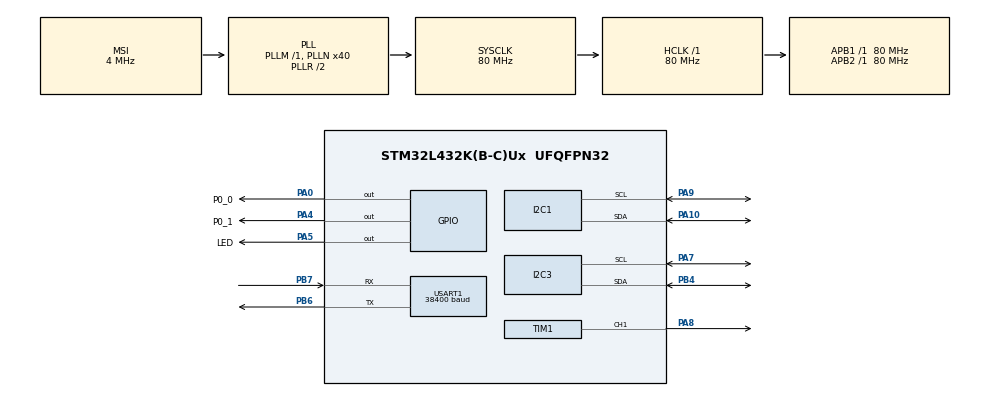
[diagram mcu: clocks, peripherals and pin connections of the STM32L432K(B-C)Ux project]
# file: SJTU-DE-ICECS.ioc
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FREERTOS.Tasks01=defaultTask,0,128,StartDefaultTask,Default,NULL,Dynamic,NULL,NULL;AD5933_Task,0,2048,AppTask_AD5933,Default,NULL,Dynamic,NULL,NULL;ZigBee_Task,2,2048,AppTask_ZigBee,Default,NULL,Dynamic,NULL,NULL
FREERTOS.configTOTAL_HEAP_SIZE=30000
I2C1.DualAddressMode=I2C_DUALADDRESS_DISABLE
I2C1.OwnAddress=0
I2C1.Speed=100
I2C1.Timing=0x10D19CE4
I2C3.Speed=50
I2C3.Timing=0x306188FF
Mcu.Family=STM32L4
Mcu.Name=STM32L432K(B-C)Ux
Mcu.Package=UFQFPN32
NVIC.PriorityGroup=NVIC_PRIORITYGROUP_4
PA0.GPIO_Label=P0_0
PA0.Signal=GPIO_Output
PA10.Mode=I2C
PA10.Signal=I2C1_SDA
PA13\ (JTMS-SWDIO).Mode=Serial_Wire
PA13\ (JTMS-SWDIO).Signal=SYS_JTMS-SWDIO
PA14\ (JTCK-SWCLK).Mode=Serial_Wire
PA14\ (JTCK-SWCLK).Signal=SYS_JTCK-SWCLK
PA4.GPIO_Label=P0_1
PA4.Signal=GPIO_Output
PA5.GPIO_Label=LED
PA5.Signal=GPIO_Output
PA7.Mode=I2C
PA7.Signal=I2C3_SCL
PA8.Signal=S_TIM1_CH1
PA9.GPIO_Mode=GPIO_MODE_AF_OD
PA9.Mode=I2C
PA9.Signal=I2C1_SCL
PB4\ (NJTRST).Mode=I2C
PB4\ (NJTRST).Signal=I2C3_SDA
PB6.Mode=Asynchronous
PB6.Signal=USART1_TX
PB7.Mode=Asynchronous
PB7.Signal=USART1_RX
PC14-OSC32_IN\ (PC14).Mode=LSE-External-Oscillator
PC14-OSC32_IN\ (PC14).Signal=RCC_OSC32_IN
PC15-OSC32_OUT\ (PC15).Mode=LSE-External-Oscillator
PC15-OSC32_OUT\ (PC15).Signal=RCC_OSC32_OUT
ProjectManager.HeapSize=0x200
ProjectManager.StackSize=0x400
ProjectManager.TargetToolchain=CMake
RCC.AHBFreq_Value=80000000
RCC.APB1Freq_Value=80000000
RCC.APB1TimFreq_Value=80000000
RCC.APB2Freq_Value=80000000
RCC.APB2TimFreq_Value=80000000
RCC.CortexFreq_Value=80000000
RCC.HCLKFreq_Value=80000000
RCC.HSE_VALUE=8000000
RCC.HSI48_VALUE=48000000
RCC.HSI_VALUE=16000000
RCC.MSI_VALUE=4000000
RCC.PLLN=40
RCC.SYSCLKFreq_VALUE=80000000
RCC.SYSCLKSource=RCC_SYSCLKSOURCE_PLLCLK
RCC.VCOOutputFreq_Value=160000000
SH.S_TIM1_CH1.0=TIM1_CH1,PWM Generation1 CH1
TIM1.Channel-PWM\ Generation1\ CH1=TIM_CHANNEL_1
TIM1.Period=999
TIM1.Prescaler=79
TIM1.Pulse-PWM\ Generation1\ CH1=500
USART1.BaudRate=38400
USART1.VirtualMode-Asynchronous=VM_ASYNC
VP_FREERTOS_VS_CMSIS_V1.Mode=CMSIS_V1
VP_TIM1_VS_ClockSourceINT.Mode=Internal
board=custom

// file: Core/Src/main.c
/* USER CODE BEGIN Header */
/**
  ******************************************************************************
  * @file           : main.c
  * @brief          : Main program body
  ******************************************************************************
  * @attention
  *
  * Copyright (c) 2025 STMicroelectronics.
  * All rights reserved.
  *
  * This software is licensed under terms that can be found in the LICENSE file
  * in the root directory of this software component.
  * If no LICENSE file comes with this software, it is provided AS-IS.
  *
  ******************************************************************************
  */
/* USER CODE END Header */
#include "main.h"
#include "cmsis_os.h"
#include "i2c.h"
#include "tim.h"
#include "usart.h"
#include "gpio.h"

void SystemClock_Config(void);
void MX_FREERTOS_Init(void);

int main(void)
{

  /* MCU Configuration--------------------------------------------------------*/

  /* Reset of all peripherals, Initializes the Flash interface and the Systick. */
  HAL_Init();

  /* Configure the system clock */
  SystemClock_Config();

  /* Initialize all configured peripherals */
  MX_GPIO_Init();
  MX_I2C1_Init();
  MX_USART1_UART_Init();
  MX_I2C3_Init();
  MX_TIM1_Init();
  /* USER CODE BEGIN 2 */
  __HAL_TIM_SET_COMPARE(&htim1, TIM_CHANNEL_1, ((htim1.Init.Period + 1U) * 30U) / 100U);
  if (HAL_TIM_PWM_Start(&htim1, TIM_CHANNEL_1) != HAL_OK)
  {
    Error_Handler();
  }

  /* USER CODE END 2 */

  /* Call init function for freertos objects (in cmsis_os2.c) */
  MX_FREERTOS_Init();

  /* Start scheduler */
  osKernelStart();

  /* We should never get here as control is now taken by the scheduler */

  /* Infinite loop */
  while (1)
  {

  }
}

void SystemClock_Config(void)
{
  RCC_OscInitTypeDef RCC_OscInitStruct = {0};
  RCC_ClkInitTypeDef RCC_ClkInitStruct = {0};

  /** Configure the main internal regulator output voltage
  */
  if (HAL_PWREx_ControlVoltageScaling(PWR_REGULATOR_VOLTAGE_SCALE1) != HAL_OK)
  {
    Error_Handler();
  }

  /** Configure LSE Drive Capability
  */
  HAL_PWR_EnableBkUpAccess();
  __HAL_RCC_LSEDRIVE_CONFIG(RCC_LSEDRIVE_LOW);

  /** Initializes the RCC Oscillators according to the specified parameters
  * in the RCC_OscInitTypeDef structure.
  */
  RCC_OscInitStruct.OscillatorType = RCC_OSCILLATORTYPE_LSE|RCC_OSCILLATORTYPE_MSI;
  RCC_OscInitStruct.LSEState = RCC_LSE_ON;
  RCC_OscInitStruct.MSIState = RCC_MSI_ON;
  RCC_OscInitStruct.MSICalibrationValue = 0;
  RCC_OscInitStruct.MSIClockRange = RCC_MSIRANGE_6;
  RCC_OscInitStruct.PLL.PLLState = RCC_PLL_ON;
  RCC_OscInitStruct.PLL.PLLSource = RCC_PLLSOURCE_MSI;
  RCC_OscInitStruct.PLL.PLLM = 1;
  RCC_OscInitStruct.PLL.PLLN = 40;
  RCC_OscInitStruct.PLL.PLLP = RCC_PLLP_DIV7;
  RCC_OscInitStruct.PLL.PLLQ = RCC_PLLQ_DIV2;
  RCC_OscInitStruct.PLL.PLLR = RCC_PLLR_DIV2;
  if (HAL_RCC_OscConfig(&RCC_OscInitStruct) != HAL_OK)
  {
    Error_Handler();
  }

  /** Initializes the CPU, AHB and APB buses clocks
  */
  RCC_ClkInitStruct.ClockType = RCC_CLOCKTYPE_HCLK|RCC_CLOCKTYPE_SYSCLK
                              |RCC_CLOCKTYPE_PCLK1|RCC_CLOCKTYPE_PCLK2;
  RCC_ClkInitStruct.SYSCLKSource = RCC_SYSCLKSOURCE_PLLCLK;
  RCC_ClkInitStruct.AHBCLKDivider = RCC_SYSCLK_DIV1;
  RCC_ClkInitStruct.APB1CLKDivider = RCC_HCLK_DIV1;
  RCC_ClkInitStruct.APB2CLKDivider = RCC_HCLK_DIV1;

  if (HAL_RCC_ClockConfig(&RCC_ClkInitStruct, FLASH_LATENCY_4) != HAL_OK)
  {
    Error_Handler();
  }

  /** Enable MSI Auto calibration
  */
  HAL_RCCEx_EnableMSIPLLMode();
}

void Error_Handler(void)
{
  __disable_irq();
  while (1)
  {
  }
}

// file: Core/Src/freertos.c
/* USER CODE BEGIN Header */
/**
  ******************************************************************************
  * File Name          : freertos.c
  * Description        : Code for freertos applications
  ******************************************************************************
  * @attention
  *
  * Copyright (c) 2025 STMicroelectronics.
  * All rights reserved.
  *
  * This software is licensed under terms that can be found in the LICENSE file
  * in the root directory of this software component.
  * If no LICENSE file comes with this software, it is provided AS-IS.
  *
  ******************************************************************************
  */
/* USER CODE END Header */

#include "FreeRTOS.h"
#include "task.h"
#include "main.h"
#include "cmsis_os.h"

/* USER CODE BEGIN Includes */
#include "AD5933.h"
#include "Communication.h"
#include "stdio.h"
#include "usart.h"
#include "tim.h"
#include <stdio.h>
#include <math.h>
#include "i2c.h"
#include "cJSON.h"
#include "semphr.h"
#include <string.h>
#include <stdlib.h>
#include <getopt.h>
#include "message_buffer.h"
#include "sht2x_for_stm32_hal.h"
/* USER CODE END Includes */

/* USER CODE BEGIN PTD */
typedef struct {
    char   *buf;
    size_t  len;
} JsonMsg_t;

typedef enum {
    APP_FREQ_MODE_SWEEP = 0,
    APP_FREQ_MODE_FIXED = 1
} AppFreqMode_t;

typedef struct {
    AppFreqMode_t  mode;
    unsigned long  startFreqHz;
    unsigned long  endFreqHz;
    unsigned long  incFreqHz;
    unsigned long  fixedFreqHz;
    unsigned short incNum;
    uint32_t       version;
} AppAD5933Config_t;

QueueHandle_t xJsonQueue;   // 创建时给尺寸, 例如 16
SemaphoreHandle_t xAD5933ConfigMutex;

double          Zr_raw, Zi_raw, phase, phase_comp, phase_real;
double          magnitude, impedance;
/* USER CODE END PTD */

/* USER CODE BEGIN PD */
#define ZIGBEE_RECV_READY_Pin GPIO_PIN_0
#define ZIGBEE_RECV_READY_GPIO_Port GPIOA
#define ZIGBEE_WAKEUP_Pin GPIO_PIN_4
#define ZIGBEE_WAKEUP_GPIO_Port GPIOA
#define SYS_LED_Pin GPIO_PIN_5
#define SYS_LED_GPIO_Port GPIOA

#define	ZIGBEE_TRANS(n)			(n?HAL_GPIO_WritePin(ZIGBEE_WAKEUP_GPIO_Port,ZIGBEE_WAKEUP_Pin,GPIO_PIN_RESET):HAL_GPIO_WritePin(ZIGBEE_WAKEUP_GPIO_Port,ZIGBEE_WAKEUP_Pin,GPIO_PIN_SET))
#define SYS_LED_BLINK()			HAL_GPIO_TogglePin(SYS_LED_GPIO_Port, SYS_LED_Pin)
#define SYS_LED_ON()			HAL_GPIO_WritePin(SYS_LED_GPIO_Port, SYS_LED_Pin, GPIO_PIN_RESET)
#define SYS_LED_OFF()			HAL_GPIO_WritePin(SYS_LED_GPIO_Port, SYS_LED_Pin, GPIO_PIN_SET)

#ifndef APP_NODE_ID
#define APP_NODE_ID             "0014"
#endif
#define CMD_LINE_MAX_LEN        96U
#define CMD_ARGV_MAX            12
#define CMD_FREQ_SCALE_HZ       1000UL

// Get the PANID of the ZigBee module.
uint8_t ZigBee_Get_PANID_Cmd[7] =
	{0xFC, 0x03, 0x02, 0x00, 0x00, 0x00, 0xFD};
// Get the network ID of the ZigBee module.
uint8_t ZigBee_Get_NETID_Cmd[7] =
	{0xFC, 0x03, 0x04, 0x00, 0x00, 0x00, 0xFB};
// Get the MAC address of the ZigBee module.
uint8_t ZigBee_Get_MACID_Cmd[7] =
	{0xFC, 0x03, 0x05, 0x00, 0x00, 0x00, 0xFA};
// Get the signal channel of the ZigBee module.
uint8_t ZigBee_Get_SIGCHAN_Cmd[7] =
	{0xFC, 0x03, 0x09, 0x00, 0x00, 0x00, 0xF6};
// Get the node type of the ZigBee module.
uint8_t ZigBee_Get_NODETYPE_Cmd[7] =
	{0xFC, 0x03, 0x11, 0x00, 0x00, 0x00, 0xEE};

// Set the PANID of the ZigBee module to 0x0397 (919).
uint8_t ZigBee_Set_PANID_Cmd[7] =
	{0xFC, 0x06, 0x02, 0x00, 0x97, 0x03, 0x6C};
// Set the node type of the ZigBee module to 0x02 (end device with low power).
uint8_t ZigBee_Set_NODETYPE_Cmd[7] =
	{0xFC, 0x06, 0x11, 0x00, 0x02, 0x00, 0xE9};

uint8_t ZigBee_NETID[4] =
	{0}; // High byte is in the front, low byte is in the back.
uint8_t ZigBee_MACID[8] =
	{0}; // High byte is in the front, low byte is in the back.
uint16_t ADCBuff[2] =
	{0};
/* USER CODE END PD */

/* USER CODE BEGIN PM */
float SHT2x_GetRelativeHumidity(uint8_t hold_master);
static double computePhaseComp(unsigned long freq);
static void QueueUartText(const char *text);
static void PublishMeasurementJson(const char *id, unsigned long currentFreqHz,
                                   double impedanceValue,
                                   double phaseDeg);
static void GetAD5933Config(AppAD5933Config_t *config);
static uint8_t IsAD5933ConfigChanged(uint32_t version);
static void HandleCommandLine(const char *line);
static int ExtractAndMatchTargetId(int *argc, char *argv[]);
static uint8_t ParsePwmDutyPermille(const char *text, uint32_t *dutyPermille);
static uint8_t HandlePwmCommand(const char *text);
static void StartCommandRx(void);
/* USER CODE END PM */

/* USER CODE BEGIN Variables */
static AppAD5933Config_t gAD5933Config = {
    .mode = APP_FREQ_MODE_SWEEP,
    .startFreqHz = 5000UL,
    .endFreqHz = 100000UL,
    .incFreqHz = 1000UL,
    .fixedFreqHz = 10000UL,
    .incNum = 95U,
    .version = 0U
};

static uint8_t cmdRxByte;
static char cmdRxLine[CMD_LINE_MAX_LEN];
static char cmdPendingLine[CMD_LINE_MAX_LEN];
static volatile uint16_t cmdRxIndex;
static volatile uint8_t cmdPendingReady;
static volatile uint8_t cmdLineOverflow;
static volatile uint8_t cmdLineDropped;
osThreadId Command_TaskHandle;
/* USER CODE END Variables */
osThreadId defaultTaskHandle;
osThreadId AD5933_TaskHandle;
osThreadId ZigBee_TaskHandle;

/* USER CODE BEGIN FunctionPrototypes */
void AppTask_Command(void const * argument);
/* USER CODE END FunctionPrototypes */

void StartDefaultTask(void const * argument);
void AppTask_AD5933(void const * argument);
void AppTask_ZigBee(void const * argument);

void MX_FREERTOS_Init(void); /* (MISRA C 2004 rule 8.1) */

/* GetIdleTaskMemory prototype (linked to static allocation support) */
void vApplicationGetIdleTaskMemory( StaticTask_t **ppxIdleTaskTCBBuffer, StackType_t **ppxIdleTaskStackBuffer, uint32_t *pulIdleTaskStackSize );

/* USER CODE BEGIN GET_IDLE_TASK_MEMORY */
static StaticTask_t xIdleTaskTCBBuffer;
static StackType_t xIdleStack[configMINIMAL_STACK_SIZE];

void vApplicationGetIdleTaskMemory( StaticTask_t **ppxIdleTaskTCBBuffer, StackType_t **ppxIdleTaskStackBuffer, uint32_t *pulIdleTaskStackSize )
{
  *ppxIdleTaskTCBBuffer = &xIdleTaskTCBBuffer;
  *ppxIdleTaskStackBuffer = &xIdleStack[0];
  *pulIdleTaskStackSize = configMINIMAL_STACK_SIZE;
  /* place for user code */
}
/* USER CODE END GET_IDLE_TASK_MEMORY */

void MX_FREERTOS_Init(void) {

  /* USER CODE BEGIN RTOS_MUTEX */
  xAD5933ConfigMutex = xSemaphoreCreateMutex();
  configASSERT(xAD5933ConfigMutex);

  /* USER CODE END RTOS_MUTEX */

  /* USER CODE BEGIN RTOS_QUEUES */
  xJsonQueue = xQueueCreate(16, sizeof(JsonMsg_t));
  configASSERT(xJsonQueue);
  StartCommandRx();
  /* USER CODE END RTOS_QUEUES */

  /* Create the thread(s) */
  /* definition and creation of defaultTask */
  osThreadDef(defaultTask, StartDefaultTask, osPriorityNormal, 0, 128);
  defaultTaskHandle = osThreadCreate(osThread(defaultTask), NULL);

  /* definition and creation of AD5933_Task */
  osThreadDef(AD5933_Task, AppTask_AD5933, osPriorityNormal, 0, 2048);
  AD5933_TaskHandle = osThreadCreate(osThread(AD5933_Task), NULL);

  /* definition and creation of ZigBee_Task */
  osThreadDef(ZigBee_Task, AppTask_ZigBee, osPriorityHigh, 0, 2048);
  ZigBee_TaskHandle = osThreadCreate(osThread(ZigBee_Task), NULL);

  /* USER CODE BEGIN RTOS_THREADS */
  osThreadDef(Command_Task, AppTask_Command, osPriorityAboveNormal, 0, 1024);
  Command_TaskHandle = osThreadCreate(osThread(Command_Task), NULL);
  /* USER CODE END RTOS_THREADS */

}

void StartDefaultTask(void const * argument)
{
  /* USER CODE BEGIN StartDefaultTask */
  (void)argument;
  /* Infinite loop */
	  for(;;)
	  {
		  HAL_GPIO_TogglePin(GPIOA, GPIO_PIN_5);
		  vTaskDelay(250);
	  }
  /* USER CODE END StartDefaultTask */
}

void AppTask_AD5933(void const * argument)
{
  /* USER CODE BEGIN AppTask_AD5933 */
	  (void)argument;
	  // AD5933 初始化
	  AD5933_Init();
	  AD5933_Init();
	  AD5933_Reset();
	  AD5933_SetSystemClk(AD5933_CONTROL_INT_SYSCLK, 0);
	  AD5933_SetRangeAndGain(AD5933_RANGE_1000mVpp, AD5933_GAIN_X1);

	  // SHT20初始化
      SHT2x_Init(&hi2c3);
      SHT2x_Init(&hi2c3);
	  SHT2x_SetResolution(RES_12_8);

	  // ID 与 NT
	  const char *id = APP_NODE_ID;

	  while (1) {
	    AppAD5933Config_t config;
	    const double gainFactor = 4.3675e-9;

	    GetAD5933Config(&config);

	    // 配置扫频
	    if (config.mode == APP_FREQ_MODE_FIXED) {
	        AD5933_ConfigSweep(config.fixedFreqHz, 0UL, 0U);
	    } else {
	        AD5933_ConfigSweep(config.startFreqHz, config.incFreqHz, config.incNum);
	    }
	    AD5933_StartSweep();

	    if (config.mode == APP_FREQ_MODE_FIXED) {
	        while (IsAD5933ConfigChanged(config.version) == 0U)
	        {
	            double Z, Zr, Zi, phase;

	            AD5933_GetComplexImpedance(gainFactor, AD5933_FUNCTION_REPEAT_FREQ, &Z, &Zr, &Zi, &phase);
	            PublishMeasurementJson(id, config.fixedFreqHz, Z, phase);
	            vTaskDelay(250);
	        }
	        continue;
	    }

	    for (unsigned short step = 0; step <= config.incNum; step++)
	    {
	        unsigned long current_freq = config.startFreqHz  + (unsigned long)step * config.incFreqHz;
	        double Z, Zr, Zi, phase, Z_real, Z_imag;
	        double phase_comp = computePhaseComp(current_freq);

	        if (IsAD5933ConfigChanged(config.version)) {
	            break;
	        }

	        // 串行读取 AD5933
	        if (step == 0) {
	            AD5933_GetComplexImpedance(gainFactor, AD5933_FUNCTION_INIT_START_FREQ, &Z, &Zr, &Zi, &phase);
	        } else {
	            AD5933_GetComplexImpedance(gainFactor, AD5933_FUNCTION_INC_FREQ, &Z, &Zr, &Zi, &phase);
	        }

	        double phase_real = phase - phase_comp;
	        double theta_rad  = phase_real * M_PI / 180.0;
	        Z_real = Z * cos(theta_rad);
	        Z_imag = Z * sin(theta_rad);

		    float temp = SHT2x_GetTemperature(1);
		    float hum  = SHT2x_GetRelativeHumidity(1);
		    vTaskDelay(10);

	        // 组 JSON
	        cJSON *root = cJSON_CreateObject();
	        cJSON_AddStringToObject(root, "ID",  id);
	        cJSON_AddNumberToObject(root, "Freq", current_freq / CMD_FREQ_SCALE_HZ);
	        cJSON_AddNumberToObject(root, "Zr", Z_real);
	        cJSON_AddNumberToObject(root, "Zi", Z_imag);
	        cJSON_AddNumberToObject(root, "T", temp);
	        cJSON_AddNumberToObject(root, "H", hum);

	        char *json = cJSON_PrintUnformatted(root);
	        cJSON_Delete(root);

	        if (json) {
	            size_t len = strlen(json);
	            char *send_buf = pvPortMalloc(len + 2);
	            configASSERT(send_buf);
	            memcpy(send_buf, json, len);
	            send_buf[len++] = '\r';
	            send_buf[len++] = '\n';

	            JsonMsg_t msg = { .buf = send_buf, .len = len };
	            xQueueSend(xJsonQueue, &msg, portMAX_DELAY);

	            cJSON_free(json);
	        }

	        vTaskDelay(250);
	    }
	  }
  /* USER CODE END AppTask_AD5933 */
}

void AppTask_ZigBee(void const * argument)
{
  /* USER CODE BEGIN AppTask_ZigBee */
    (void)argument;
    // 一次性唤醒并等待稳定
    ZIGBEE_TRANS(1);
    vTaskDelay(pdMS_TO_TICKS(50));

    // 进入配置
    HAL_UART_Transmit(&huart1, ZigBee_Set_PANID_Cmd, 7, 100);
    vTaskDelay(pdMS_TO_TICKS(50));
    HAL_UART_Transmit(&huart1, ZigBee_Set_NODETYPE_Cmd, 7, 100);
    vTaskDelay(pdMS_TO_TICKS(50));

    // 后面不再切 ZIGBEE_TRANS
    for (;;) {
        JsonMsg_t msg;
        if (xQueueReceive(xJsonQueue, &msg, portMAX_DELAY) == pdTRUE) {
            HAL_UART_Transmit(&huart1, (uint8_t *)msg.buf, msg.len, HAL_MAX_DELAY);
            vPortFree(msg.buf);
        }
    }
  /* USER CODE END AppTask_ZigBee */
}

/* USER CODE BEGIN Application */
void AppTask_Command(void const * argument)
{
    (void)argument;
    QueueUartText("\r\nCMD READY: append '-id <sensor_id>' to every set command\r\n");
    QueueUartText("Examples: set -pwm 0.3 -id 0011; set -o 0 -s 5 -e 100 -i 1 -id 0011; set -o 1 -q 10 -id 0011\r\n");

    for (;;) {
        char line[CMD_LINE_MAX_LEN];
        uint8_t hasLine = 0U;
        uint8_t overflow = 0U;
        uint8_t dropped = 0U;

        taskENTER_CRITICAL();
        if (cmdPendingReady != 0U) {
            memcpy(line, cmdPendingLine, sizeof(line));
            cmdPendingReady = 0U;
            hasLine = 1U;
        }
        if (cmdLineOverflow != 0U) {
            cmdLineOverflow = 0U;
            overflow = 1U;
        }
        if (cmdLineDropped != 0U) {
            cmdLineDropped = 0U;
            dropped = 1U;
        }
        taskEXIT_CRITICAL();

        if (overflow != 0U) {
            QueueUartText("CMD ERR: line too long\r\n");
        }
        if (dropped != 0U) {
            QueueUartText("CMD ERR: previous command not processed, line dropped\r\n");
        }
        if (hasLine != 0U) {
            HandleCommandLine(line);
        }

        vTaskDelay(pdMS_TO_TICKS(20));
    }
}

static double computePhaseComp(unsigned long freq) {
        return 7.53601e-4 * (double)freq - 90.46298;
}

static void QueueUartText(const char *text)
{
    size_t len;
    char *send_buf;
    JsonMsg_t msg;

    if ((text == NULL) || (xJsonQueue == NULL)) {
        return;
    }

    len = strlen(text);
    send_buf = pvPortMalloc(len);
    if (send_buf == NULL) {
        return;
    }

    memcpy(send_buf, text, len);
    msg.buf = send_buf;
    msg.len = len;

    if (xQueueSend(xJsonQueue, &msg, pdMS_TO_TICKS(100U)) != pdPASS) {
        vPortFree(send_buf);
    }
}

static void PublishMeasurementJson(const char *id, unsigned long currentFreqHz,
                                   double impedanceValue,
                                   double phaseDeg)
{
    double phase_comp = computePhaseComp(currentFreqHz);
    double phase_real = phaseDeg - phase_comp;
    double theta_rad  = phase_real * M_PI / 180.0;
    double Z_real = impedanceValue * cos(theta_rad);
    double Z_imag = impedanceValue * sin(theta_rad);
    float temp = SHT2x_GetTemperature(1);
    float hum  = SHT2x_GetRelativeHumidity(1);
    cJSON *root;
    char *json;

    vTaskDelay(10);

    root = cJSON_CreateObject();
    if (root == NULL) {
        return;
    }

    cJSON_AddStringToObject(root, "ID", id);
    cJSON_AddNumberToObject(root, "Freq", currentFreqHz / CMD_FREQ_SCALE_HZ);
    cJSON_AddNumberToObject(root, "Zr", Z_real);
    cJSON_AddNumberToObject(root, "Zi", Z_imag);
    cJSON_AddNumberToObject(root, "T", temp);
    cJSON_AddNumberToObject(root, "H", hum);

    json = cJSON_PrintUnformatted(root);
    cJSON_Delete(root);

    if (json != NULL) {
        size_t len = strlen(json);
        char *send_buf = pvPortMalloc(len + 2U);

        if (send_buf != NULL) {
            JsonMsg_t msg;

            memcpy(send_buf, json, len);
            send_buf[len++] = '\r';
            send_buf[len++] = '\n';
            msg.buf = send_buf;
            msg.len = len;
            xQueueSend(xJsonQueue, &msg, portMAX_DELAY);
        }

        cJSON_free(json);
    }
}

static void GetAD5933Config(AppAD5933Config_t *config)
{
    if (config == NULL) {
        return;
    }

    if (xAD5933ConfigMutex != NULL) {
        xSemaphoreTake(xAD5933ConfigMutex, portMAX_DELAY);
        *config = gAD5933Config;
        xSemaphoreGive(xAD5933ConfigMutex);
    } else {
        *config = gAD5933Config;
    }
}

static uint8_t IsAD5933ConfigChanged(uint32_t version)
{
    AppAD5933Config_t config;

    GetAD5933Config(&config);
    return (config.version != version) ? 1U : 0U;
}

static void PrintCommandHelp(void)
{
    QueueUartText("CMD HELP: set -pwm <0.0-1.0> -id <sensor_id>; set -o <0|1> [-q fixed_kHz] [-s start_kHz -e end_kHz -i step_kHz] -id <sensor_id>\r\n");
    QueueUartText("  -id X: target sensor ID (this node is " APP_NODE_ID ")\r\n");
    QueueUartText("  -pwm X: PWM duty ratio, 0.3 means 30%, 0.5 means 50%\r\n");
    QueueUartText("  -o 0: sweep mode, -o 1: fixed-frequency mode\r\n");
    QueueUartText("  -q X: fixed frequency in kHz\r\n");
    QueueUartText("  -s X -e Y -i Z: sweep start/end/step in kHz\r\n");
    QueueUartText("Examples: set -pwm 0.3 -id 0011; set -o 0 -s 5 -e 100 -i 1 -id 0011; set -o 1 -q 10 -id 0011\r\n");
}

static uint8_t ParsePwmDutyPermille(const char *text, uint32_t *dutyPermille)
{
    const char *p = text;
    uint32_t whole = 0U;
    uint32_t frac = 0U;
    uint32_t fracDigits = 0U;
    uint8_t hasWholeDigit = 0U;
    uint8_t hasFracDigit = 0U;
    uint8_t fracNonZero = 0U;
    uint8_t roundUp = 0U;

    if ((text == NULL) || (dutyPermille == NULL) || (*text == '\0')) {
        return 0U;
    }

    while ((*p >= '0') && (*p <= '9')) {
        hasWholeDigit = 1U;
        whole = (whole * 10U) + (uint32_t)(*p - '0');
        if (whole > 1U) {
            return 0U;
        }
        p++;
    }

    if (*p == '.') {
        p++;
        while ((*p >= '0') && (*p <= '9')) {
            uint32_t digit = (uint32_t)(*p - '0');

            hasFracDigit = 1U;
            if (digit != 0U) {
                fracNonZero = 1U;
            }

            if (fracDigits < 3U) {
                frac = (frac * 10U) + digit;
            } else if ((fracDigits == 3U) && (digit >= 5U)) {
                roundUp = 1U;
            }

            fracDigits++;
            p++;
        }
    }

    if ((hasWholeDigit == 0U) && (hasFracDigit == 0U)) {
        return 0U;
    }
    if ((*p != '\0') || ((whole == 1U) && (fracNonZero != 0U))) {
        return 0U;
    }

    while (fracDigits < 3U) {
        frac *= 10U;
        fracDigits++;
    }

    if (whole == 1U) {
        *dutyPermille = 1000U;
    } else {
        if ((roundUp != 0U) && (frac < 1000U)) {
            frac++;
        }
        if (frac > 1000U) {
            frac = 1000U;
        }
        *dutyPermille = frac;
    }

    return 1U;
}

static uint8_t HandlePwmCommand(const char *text)
{
    uint32_t dutyPermille;
    uint32_t periodCounts;
    uint32_t pulse;
    char reply[80];

    if (ParsePwmDutyPermille(text, &dutyPermille) == 0U) {
        QueueUartText("CMD ERR: PWM duty must be 0.0 to 1.0\r\n");
        return 0U;
    }

    periodCounts = htim1.Init.Period + 1U;
    pulse = ((periodCounts * dutyPermille) + 500U) / 1000U;
    if (pulse > periodCounts) {
        pulse = periodCounts;
    }

    __HAL_TIM_SET_COMPARE(&htim1, TIM_CHANNEL_1, pulse);

    snprintf(reply, sizeof(reply), "CMD OK: pwm duty=%lu.%lu%% pulse=%lu\r\n",
             (unsigned long)(dutyPermille / 10U),
             (unsigned long)(dutyPermille % 10U),
             (unsigned long)pulse);
    QueueUartText(reply);
    return 1U;
}

static uint8_t ParsePositiveKHz(const char *text, unsigned long *freqHz)
{
    char *end = NULL;
    long value;

    if ((text == NULL) || (freqHz == NULL)) {
        return 0U;
    }

    value = strtol(text, &end, 10);
    if ((end == text) || (value <= 0)) {
        return 0U;
    }

    while ((*end == ' ') || (*end == '\t')) {
        end++;
    }

    if (*end != '\0') {
        return 0U;
    }

    *freqHz = (unsigned long)value * CMD_FREQ_SCALE_HZ;
    return 1U;
}

static int SplitCommandLine(char *line, char *argv[], int maxArgc)
{
    int argc = 0;
    char *p = line;

    while (*p != '\0') {
        while ((*p == ' ') || (*p == '\t')) {
            p++;
        }

        if (*p == '\0') {
            break;
        }

        if (argc >= maxArgc) {
            return -1;
        }

        argv[argc++] = p;

        while ((*p != '\0') && (*p != ' ') && (*p != '\t')) {
            p++;
        }

        if (*p != '\0') {
            *p = '\0';
            p++;
        }
    }

    return argc;
}

/*
 * Remove the two-token "-id <sensor_id>" option before getopt processes the
 * remaining single-character options.  Commands for other nodes are silently
 * ignored because they share the same ZigBee/UART receive path.
 *
 * Return 1 for this node, 0 for another node, and -1 for malformed input.
 */
static int ExtractAndMatchTargetId(int *argc, char *argv[])
{
    const char *targetId = NULL;
    int readIndex;
    int writeIndex = 0;

    if ((argc == NULL) || (argv == NULL)) {
        return -1;
    }

    for (readIndex = 0; readIndex < *argc; readIndex++) {
        if (strcmp(argv[readIndex], "-id") == 0) {
            if ((targetId != NULL) || ((readIndex + 1) >= *argc) ||
                (argv[readIndex + 1][0] == '\0')) {
                return -1;
            }

            targetId = argv[readIndex + 1];
            readIndex++;
        } else {
            argv[writeIndex++] = argv[readIndex];
        }
    }

    *argc = writeIndex;
    if (targetId == NULL) {
        return -1;
    }

    return (strcmp(targetId, APP_NODE_ID) == 0) ? 1 : 0;
}

static void HandleCommandLine(const char *line)
{
    char lineCopy[CMD_LINE_MAX_LEN];
    char *argv[CMD_ARGV_MAX];
    AppAD5933Config_t nextConfig;
    unsigned long incNum;
    int argc;
    int opt;
    int targetMatch;
    int selectedMode = -1;
    uint8_t hasMode = 0U;
    uint8_t hasFixedFreq = 0U;
    uint8_t hasSweepParam = 0U;
    char reply[160];

    if (line == NULL) {
        return;
    }

    strncpy(lineCopy, line, sizeof(lineCopy) - 1U);
    lineCopy[sizeof(lineCopy) - 1U] = '\0';

    argc = SplitCommandLine(lineCopy, argv, CMD_ARGV_MAX);
    if (argc == 0) {
        return;
    }
    if (argc < 0) {
        QueueUartText("CMD ERR: too many arguments\r\n");
        return;
    }

    if ((strcmp(argv[0], "help") == 0) || (strcmp(argv[0], "?") == 0)) {
        PrintCommandHelp();
        return;
    }

    if (strcmp(argv[0], "set") != 0) {
        QueueUartText("CMD ERR: command must start with 'set'\r\n");
        PrintCommandHelp();
        return;
    }

    targetMatch = ExtractAndMatchTargetId(&argc, argv);
    if (targetMatch < 0) {
        QueueUartText("CMD ERR: every set command requires exactly one '-id <sensor_id>'\r\n");
        return;
    }
    if (targetMatch == 0) {
        return;
    }

    if ((argc >= 2) && (strcmp(argv[1], "-pwm") == 0)) {
        if (argc != 3) {
            QueueUartText("CMD ERR: use 'set -pwm <0.0-1.0> -id <sensor_id>'\r\n");
            return;
        }
        (void)HandlePwmCommand(argv[2]);
        return;
    }

    GetAD5933Config(&nextConfig);
    selectedMode = (int)nextConfig.mode;

    optind = 1;
    opterr = 0;

    while ((opt = getopt(argc, argv, "ho:q:s:e:i:")) != -1) {
        switch (opt) {
        case 'h':
            PrintCommandHelp();
            return;

        case 'o':
            if ((strcmp(optarg, "0") != 0) && (strcmp(optarg, "1") != 0)) {
                QueueUartText("CMD ERR: -o must be 0(sweep) or 1(fixed)\r\n");
                return;
            }
            selectedMode = (optarg[0] == '0') ? APP_FREQ_MODE_SWEEP : APP_FREQ_MODE_FIXED;
            hasMode = 1U;
            break;

        case 'q':
            if (ParsePositiveKHz(optarg, &nextConfig.fixedFreqHz) == 0U) {
                QueueUartText("CMD ERR: invalid -q fixed frequency\r\n");
                return;
            }
            hasFixedFreq = 1U;
            break;

        case 's':
            if (ParsePositiveKHz(optarg, &nextConfig.startFreqHz) == 0U) {
                QueueUartText("CMD ERR: invalid -s sweep start frequency\r\n");
                return;
            }
            hasSweepParam = 1U;
            break;

        case 'e':
            if (ParsePositiveKHz(optarg, &nextConfig.endFreqHz) == 0U) {
                QueueUartText("CMD ERR: invalid -e sweep end frequency\r\n");
                return;
            }
            hasSweepParam = 1U;
            break;

        case 'i':
            if (ParsePositiveKHz(optarg, &nextConfig.incFreqHz) == 0U) {
                QueueUartText("CMD ERR: invalid -i sweep step frequency\r\n");
                return;
            }
            hasSweepParam = 1U;
            break;

        default:
            QueueUartText("CMD ERR: unknown option or missing option value\r\n");
            PrintCommandHelp();
            return;
        }
    }

    if (optind < argc) {
        QueueUartText("CMD ERR: unexpected argument after options\r\n");
        return;
    }

    if ((hasMode == 0U) && (hasFixedFreq != 0U) && (hasSweepParam == 0U)) {
        selectedMode = APP_FREQ_MODE_FIXED;
    } else if ((hasMode == 0U) && (hasSweepParam != 0U) && (hasFixedFreq == 0U)) {
        selectedMode = APP_FREQ_MODE_SWEEP;
    } else if ((hasMode == 0U) && (hasSweepParam != 0U) && (hasFixedFreq != 0U)) {
        QueueUartText("CMD ERR: use -o when mixing -q with sweep parameters\r\n");
        return;
    }

    if (nextConfig.endFreqHz < nextConfig.startFreqHz) {
        QueueUartText("CMD ERR: sweep end must be >= sweep start\r\n");
        return;
    }
    if (nextConfig.incFreqHz == 0UL) {
        QueueUartText("CMD ERR: sweep step must be > 0\r\n");
        return;
    }
    if (((nextConfig.endFreqHz - nextConfig.startFreqHz) % nextConfig.incFreqHz) != 0UL) {
        QueueUartText("CMD ERR: (end-start) must be divisible by step\r\n");
        return;
    }

    incNum = (nextConfig.endFreqHz - nextConfig.startFreqHz) / nextConfig.incFreqHz;
    if (incNum > AD5933_MAX_INC_NUM) {
        QueueUartText("CMD ERR: too many sweep steps, max incNum is 511\r\n");
        return;
    }

    nextConfig.mode = (selectedMode == APP_FREQ_MODE_FIXED) ? APP_FREQ_MODE_FIXED : APP_FREQ_MODE_SWEEP;
    nextConfig.incNum = (unsigned short)incNum;
    nextConfig.version++;

    xSemaphoreTake(xAD5933ConfigMutex, portMAX_DELAY);
    gAD5933Config = nextConfig;
    xSemaphoreGive(xAD5933ConfigMutex);

    if (nextConfig.mode == APP_FREQ_MODE_FIXED) {
        snprintf(reply, sizeof(reply), "CMD OK: mode=fixed freq=%lu Hz\r\n", nextConfig.fixedFreqHz);
    } else {
        snprintf(reply, sizeof(reply),
                 "CMD OK: mode=sweep start=%lu Hz end=%lu Hz step=%lu Hz points=%lu\r\n",
                 nextConfig.startFreqHz,
                 nextConfig.endFreqHz,
                 nextConfig.incFreqHz,
                 incNum + 1UL);
    }
    QueueUartText(reply);
}

static void StartCommandRx(void)
{
    (void)HAL_UART_Receive_IT(&huart1, &cmdRxByte, 1);
}

void HAL_UART_RxCpltCallback(UART_HandleTypeDef *huart)
{
    if (huart->Instance == USART1) {
        char ch = (char)cmdRxByte;

        if ((ch == '\r') || (ch == '\n')) {
            if (cmdRxIndex > 0U) {
                if (cmdPendingReady == 0U) {
                    uint16_t i;

                    for (i = 0U; i < cmdRxIndex; i++) {
                        cmdPendingLine[i] = cmdRxLine[i];
                    }
                    cmdPendingLine[cmdRxIndex] = '\0';
                    cmdPendingReady = 1U;
                } else {
                    cmdLineDropped = 1U;
                }
                cmdRxIndex = 0U;
            }
        } else if ((ch == '\b') || (ch == 0x7f)) {
            if (cmdRxIndex > 0U) {
                cmdRxIndex--;
            }
        } else if (cmdRxIndex < (CMD_LINE_MAX_LEN - 1U)) {
            cmdRxLine[cmdRxIndex++] = ch;
        } else {
            cmdRxIndex = 0U;
            cmdLineOverflow = 1U;
        }

        StartCommandRx();
    }
}

void HAL_UART_ErrorCallback(UART_HandleTypeDef *huart)
{
    if (huart->Instance == USART1) {
        cmdRxIndex = 0U;
        StartCommandRx();
    }
}
/* USER CODE END Application */
